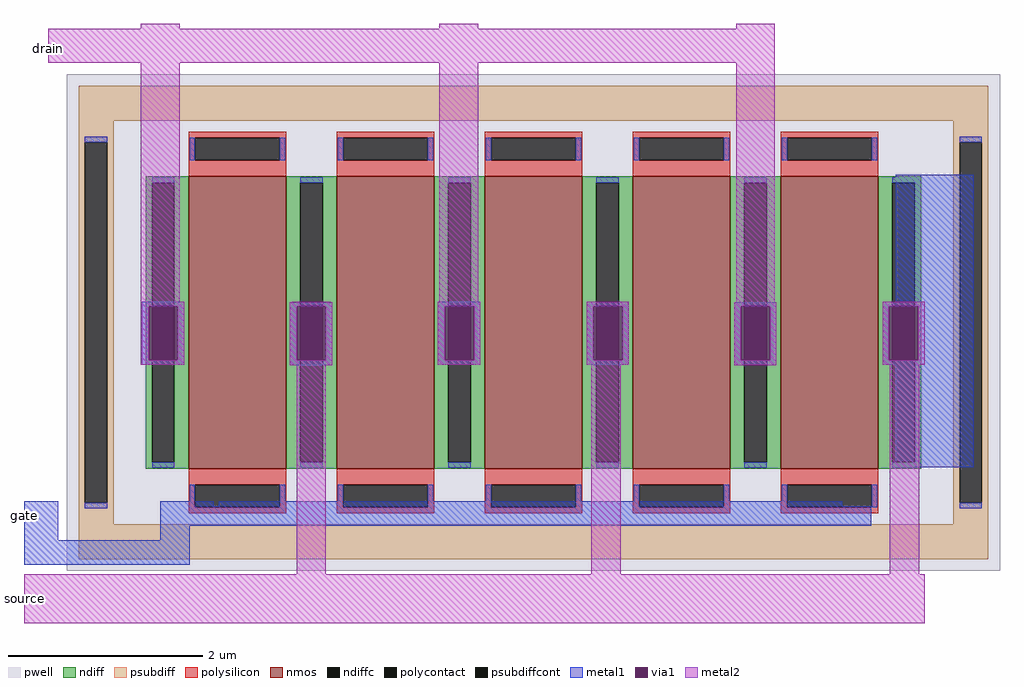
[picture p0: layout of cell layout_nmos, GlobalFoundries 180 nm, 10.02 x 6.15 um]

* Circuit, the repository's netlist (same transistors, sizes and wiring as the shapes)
* NGSPICE file created from xschem_nmos.ext - technology: gf180mcuD

.subckt nfet_03v3_5GTYYT a_n508_n300# a_n204_n300# a_508_n392# a_204_n392# a_n708_n392#
+ a_n404_n392# a_n934_n486# a_n100_n392# a_708_n300# a_404_n300# a_n796_n300# a_100_n300#
X0 a_100_n300# a_n100_n392# a_n204_n300# a_n934_n486# nfet_03v3 ad=0.78p pd=3.52u as=0.78p ps=3.52u w=3u l=1u
X1 a_708_n300# a_508_n392# a_404_n300# a_n934_n486# nfet_03v3 ad=1.32p pd=6.88u as=0.78p ps=3.52u w=3u l=1u
XM2 a_n204_n300# a_n404_n392# a_n508_n300# a_n934_n486# nfet_03v3 ad=0.78p pd=3.52u as=0.78p ps=3.52u w=3u l=1u
X3 a_n508_n300# a_n708_n392# a_n796_n300# a_n934_n486# nfet_03v3 ad=0.78p pd=3.52u as=1.32p ps=6.88u w=3u l=1u
X4 a_404_n300# a_204_n392# a_100_n300# a_n934_n486# nfet_03v3 ad=0.78p pd=3.52u as=0.78p ps=3.52u w=3u l=1u
.ends

.subckt nmos drain source gate
XXM9 source drain gate gate gate gate source gate source drain drain source nfet_03v3_5GTYYT
.ends

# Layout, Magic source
magic
tech gf180mcuD
magscale 1 10
<< pwell >>
rect 250 70 1530 110
<< metal1 >>
rect 1640 520 1800 780
rect 92 510 179 520
rect 92 400 106 510
rect 166 400 179 510
rect 92 390 179 400
rect 396 510 483 519
rect 396 400 410 510
rect 470 400 483 510
rect 396 389 483 400
rect 700 510 787 520
rect 700 400 714 510
rect 774 400 787 510
rect 700 390 787 400
rect 1005 510 1092 520
rect 1005 400 1019 510
rect 1079 400 1092 510
rect 1005 390 1092 400
rect 1308 510 1395 519
rect 1308 400 1322 510
rect 1382 400 1395 510
rect 1308 389 1395 400
rect 1613 510 1800 520
rect 1613 400 1626 510
rect 1686 400 1800 510
rect 1613 390 1800 400
rect 1640 180 1800 390
rect -150 30 -80 110
rect 130 100 240 110
rect 250 100 1530 110
rect 130 60 1590 100
rect 130 30 190 60
rect -150 -20 190 30
<< via1 >>
rect 106 400 166 510
rect 410 400 470 510
rect 714 400 774 510
rect 1019 400 1079 510
rect 1322 400 1382 510
rect 1626 400 1686 510
<< metal2 >>
rect 90 1080 170 1090
rect 703 1080 783 1090
rect 1312 1080 1392 1090
rect -100 1010 1392 1080
rect 90 520 170 1010
rect 703 520 783 1010
rect 90 510 179 520
rect 400 519 480 520
rect 90 400 106 510
rect 166 400 179 510
rect 90 390 179 400
rect 396 510 483 519
rect 396 400 410 510
rect 470 400 483 510
rect 396 389 483 400
rect 700 510 787 520
rect 700 400 714 510
rect 774 400 787 510
rect 700 390 787 400
rect 1005 510 1092 520
rect 1312 519 1392 1010
rect 1005 400 1019 510
rect 1079 400 1092 510
rect 1005 390 1092 400
rect 1308 510 1395 519
rect 1308 400 1322 510
rect 1382 400 1395 510
rect 410 -40 470 389
rect 1015 -40 1075 390
rect 1308 389 1395 400
rect 1613 510 1700 520
rect 1613 400 1626 510
rect 1686 400 1700 510
rect 1613 390 1700 400
rect 1628 -40 1688 390
rect -150 -140 1700 -40
use nfet_03v3_5GTYYT  XM9
transform 1 0 896 0 1 477
box -958 -510 958 510
<< labels >>
rlabel metal2 -100 1040 -100 1040 7 drain
port 0 w
rlabel metal2 -150 -90 -150 -90 7 source
port 1 w
rlabel metal1 -150 80 -150 80 7 gate
port 2 w
<< end >>

# cell nfet_03v3_5GTYYT: kit device nfet_03v3, w 3.0 l 1.0 m 1 nf 5 diffcov 100 polycov 100 guard 1 glc 1 grc 1 gtc 0 gbc 0 tbcov 100 rlcov 100 topc 1 botc 1 poverlap 0 doverlap 1 lmin 0.28 wmin 0.22 class mosfet full_metal 0 compatible {nfet_03v3 nfet_06v0 nfet_06v0_nvt}
